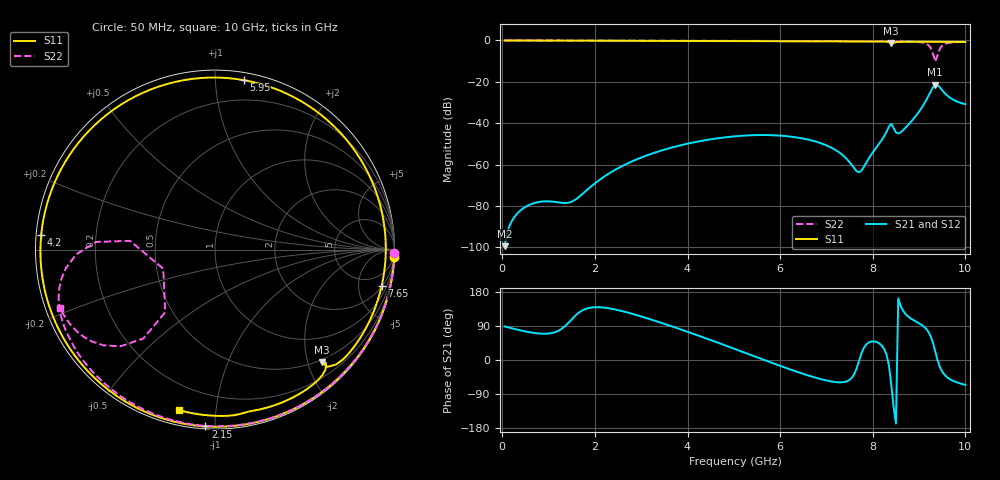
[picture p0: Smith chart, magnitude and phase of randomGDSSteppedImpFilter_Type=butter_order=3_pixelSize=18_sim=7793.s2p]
! freq	dB(S11)	phase(S11)	dB(S12)	phase(S12)
!  dB(S21)	phase(S21)	dB(S22)	phase(S22)
!S-par simulation data
#  GHz  S  DB  R 50
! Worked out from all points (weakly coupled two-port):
!   200 points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, 50 MHz to 10 GHz, reference 50 ohm
!   highest |S21| = -21.42 dB at 9.35 GHz (marker M1); lowest = -99.5 dB at 50 MHz (marker M2)
!   lowest |S11| = -1.3 dB at 8.4 GHz (marker M3), VSWR 13.80, Z = 22.6 - j113 ohm
!   |S11| at or under -10 dB: nowhere
!   |S22| runs from -10.2 to 0.0 dB; largest |S21 - S12| = 0
!   S11 on the Smith chart (normalised r, x): 50 MHz: 0, -51; 2.15 GHz: 0.01, -0.95; 4.2 GHz: 0.01, +0.04; 5.95 GHz: 0.05, +1.18; 7.65 GHz: 2.11, -8.80; 10 GHz: 0.07, -0.80
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0.05  -0.00 -2.2  -99.49 88.6  -99.49 88.6  -0.00 -1.0
0.7  -0.04 -30.7  -78.56 71.1  -78.56 71.1  -0.02 -13.5
1.4  -0.08 -61.0  -78.55 94.8  -78.55 94.8  -0.03 -26.8
1.75  -0.10 -76.0  -73.85 132.2  -73.85 132.2  -0.04 -33.4
2.15  -0.12 -93.1  -66.60 138.8  -66.60 138.8  -0.05 -40.8
3.4  -0.19 -147.5  -53.48 99.4  -53.48 99.4  -0.08 -63.3
4.2  -0.25 175.1  -48.99 65.8  -48.99 65.8  -0.11 -77.1
5.05  -0.32 131.2  -46.30 27.8  -46.30 27.8  -0.14 -91.3
5.95  -0.38 80.3  -45.96 -13.3  -45.96 -13.3  -0.18 -105.8
6.7  -0.40 37.4  -48.49 -44.4  -48.49 -44.4  -0.23 -117.8
7.25  -0.42 7.7  -53.77 -58.8  -53.77 -58.8  -0.27 -126.6
7.65  -0.44 -12.3  -63.23 -22.8  -63.23 -22.8  -0.31 -133.2
7.75  -0.45 -17.1  -63.08 15.6  -63.08 15.6  -0.32 -134.8
8.35  -0.86 -46.2  -41.61 -15.2  -41.61 -15.2  -0.41 -145.7
8.4  -1.26 -46.5  -40.29 -65.9  -40.29 -65.9  -0.43 -146.7
8.5  -0.83 -47.3  -44.53 -167.6  -44.53 -167.6  -0.45 -148.6
8.6  -0.66 -51.8  -44.45 143.5  -44.45 143.5  -0.48 -150.8
9.15  -0.67 -73.3  -29.02 82.6  -29.02 82.6  -1.56 -173.0
9.3  -0.71 -78.4  -22.59 45.1  -22.59 45.1  -6.45 174.1
9.35  -0.69 -79.9  -21.42 22.2  -21.42 22.2  -10.24 -159.7
9.5  -0.64 -85.4  -24.14 -30.9  -24.14 -30.9  -2.47 -134.3
10  -0.75 -102.5  -30.83 -65.9  -30.83 -65.9  -0.71 -159.3
